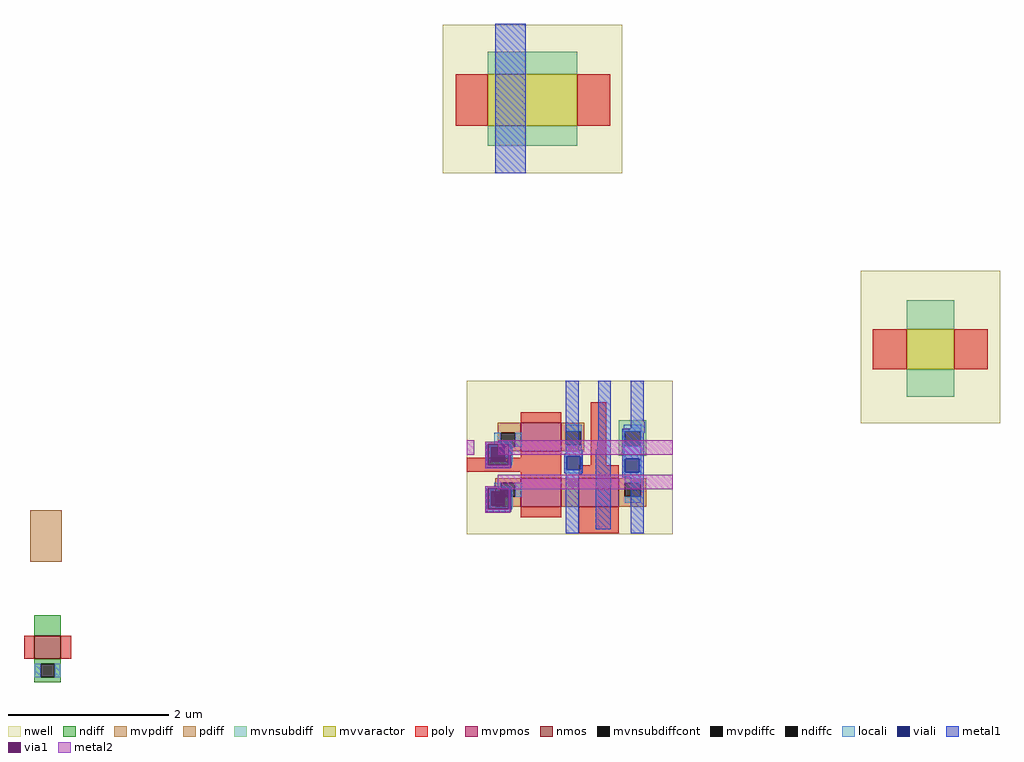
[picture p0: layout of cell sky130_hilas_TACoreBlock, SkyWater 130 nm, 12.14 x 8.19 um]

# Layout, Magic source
magic
tech sky130A
<< nmos >>
rect 449 40 482 69
<< ndiff >>
rect 449 69 482 94
rect 449 34 482 40
rect 449 17 457 34
rect 474 17 482 34
rect 449 11 482 17
<< pdiff >>
rect 444 161 483 225
<< ndiffc >>
rect 457 17 474 34
<< poly >>
rect 436 40 449 69
rect 482 40 495 69
<< locali >>
rect 449 17 457 34
rect 474 17 482 34
use sky130_hilas_TunCap01  sky130_hilas_TunCap01_0
transform 1 0 1477 0 1 333
box 0 0 173 190
use sky130_hilas_horizPcell01  sky130_hilas_horizPcell01_0
transform 1 0 987 0 1 195
box 0 0 256 191
use sky130_hilas_FGVaractorCapacitor  sky130_hilas_FGVaractorCapacitor_0
transform 1 0 957 0 1 644
box 0 0 223 186
<< properties >>
string LEFsite unithd
string LEFclass CORE
string LEFsymmetry X Y R90
<< end >>

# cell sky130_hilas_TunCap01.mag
magic
tech sky130A
<< nwell >>
rect 0 0 173 190
<< mvvaractor >>
rect 57 67 116 117
<< mvnsubdiff >>
rect 57 117 116 153
rect 57 33 116 67
<< poly >>
rect 15 67 57 117
rect 116 67 158 117
<< properties >>
string LEFsite unithd
string LEFclass CORE
string LEFsymmetry X Y R90
<< end >>

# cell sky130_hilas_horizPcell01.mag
magic
tech sky130A
<< nwell >>
rect 0 0 256 191
<< mvpmos >>
rect 67 103 117 139
rect 67 34 117 70
rect 139 34 189 70
<< mvpdiff >>
rect 38 126 67 139
rect 38 109 42 126
rect 60 109 67 126
rect 38 103 67 109
rect 117 128 146 139
rect 117 111 123 128
rect 142 111 146 128
rect 117 103 146 111
rect 35 64 67 70
rect 35 47 42 64
rect 60 47 67 64
rect 35 34 67 47
rect 117 34 139 70
rect 189 64 223 70
rect 189 47 196 64
rect 216 47 223 64
rect 189 34 223 47
<< mvpdiffc >>
rect 42 109 60 126
rect 123 111 142 128
rect 42 47 60 64
rect 196 47 216 64
<< mvnsubdiff >>
rect 189 128 223 142
rect 189 110 196 128
rect 216 110 223 128
rect 189 98 223 110
<< mvnsubdiffcont >>
rect 196 110 216 128
<< poly >>
rect 67 139 117 152
rect 67 95 117 103
rect 0 78 117 95
rect 154 86 173 164
rect 67 70 117 78
rect 139 70 189 86
rect 67 21 117 34
rect 139 1 189 34
<< locali >>
rect 123 128 143 136
rect 34 109 42 126
rect 60 109 68 126
rect 142 111 143 128
rect 123 97 143 111
rect 123 80 124 97
rect 141 80 143 97
rect 123 76 143 80
rect 195 128 217 136
rect 195 110 196 128
rect 216 110 217 128
rect 195 94 217 110
rect 195 77 197 94
rect 214 77 217 94
rect 196 74 217 77
rect 196 64 216 74
rect 34 47 42 64
rect 60 47 68 64
rect 196 39 216 47
<< viali >>
rect 124 80 141 97
rect 197 77 214 94
<< metal1 >>
rect 123 105 139 191
rect 163 117 179 191
rect 204 140 220 191
rect 204 131 221 140
rect 162 105 179 117
rect 123 100 144 105
rect 121 97 144 100
rect 121 80 124 97
rect 141 80 144 97
rect 121 76 144 80
rect 123 74 143 76
rect 123 1 139 74
rect 160 6 179 105
rect 193 126 221 131
rect 193 94 220 126
rect 193 77 197 94
rect 214 77 220 94
rect 193 71 220 77
rect 204 1 220 71
<< metal2 >>
rect 0 99 9 117
rect 39 99 256 117
rect 38 56 256 74
use sky130_hilas_li2m2  sky130_hilas_li2m2_0
transform 1 0 23 0 -1 60
box 0 0 34 33
use sky130_hilas_li2m2  sky130_hilas_li2m2_1
transform 1 0 23 0 -1 115
box 0 0 34 33
<< properties >>
string LEFsite unithd
string LEFclass CORE
string LEFsymmetry X Y R90
<< end >>

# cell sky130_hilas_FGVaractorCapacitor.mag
magic
tech sky130A
<< nwell >>
rect 0 0 223 185
<< mvvaractor >>
rect 56 59 167 123
<< mvnsubdiff >>
rect 56 123 167 151
rect 56 34 167 59
<< poly >>
rect 16 59 56 123
rect 167 59 208 123
<< metal1 >>
rect 65 0 103 186
<< properties >>
string LEFsite unithd
string LEFclass CORE
string LEFsymmetry X Y R90
<< end >>

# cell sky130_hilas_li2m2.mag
magic
tech sky130A
<< locali >>
rect 1 25 33 29
rect 1 24 34 25
rect 1 7 7 24
rect 24 7 34 24
rect 1 6 34 7
rect 1 3 33 6
<< viali >>
rect 7 7 24 24
<< metal1 >>
rect 0 29 32 32
rect 0 3 3 29
rect 29 3 32 29
rect 0 0 32 3
<< via1 >>
rect 3 24 29 29
rect 3 7 7 24
rect 7 7 24 24
rect 24 7 29 24
rect 3 3 29 7
<< metal2 >>
rect 0 29 31 33
rect 0 3 3 29
rect 29 3 31 29
rect 0 0 31 3
<< properties >>
string LEFsite unithd
string LEFclass CORE
string LEFsymmetry X Y R90
<< end >>
